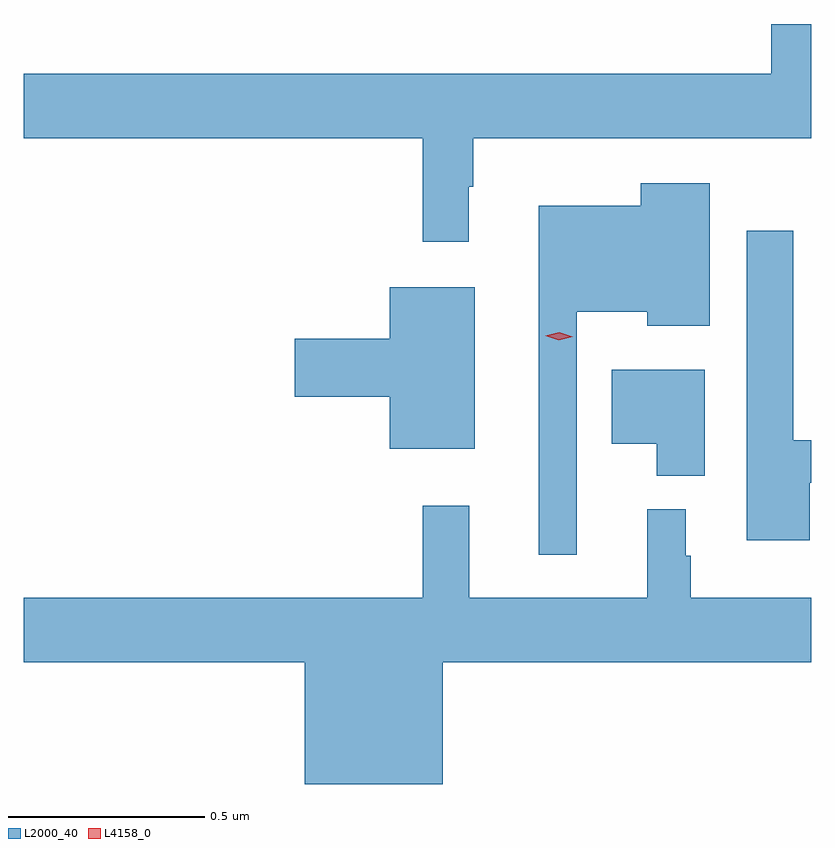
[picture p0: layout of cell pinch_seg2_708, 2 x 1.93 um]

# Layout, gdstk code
import gdstk
lib = gdstk.Library(unit=1e-6, precision=1e-09)
def P(c, l, *ps):  # polygons
    for p in ps: c.add(gdstk.Polygon(p, *l))
L2000_40 = (2000, 40)
L4158_0 = (4158, 0)

pinch_seg2_708 = lib.new_cell('pinch_seg2_708')
P(pinch_seg2_708, L2000_40, [(1083.506,586.364),(1084.519,586.364),(1084.519,586.101),(1084.636,586.101),(1084.636,586.241),(1084.648,586.241),(1084.648,586.364),(1085.506,586.364),(1085.506,586.654),(1085.405,586.654),(1085.405,586.528),(1083.506,586.528)],
  [(1084.911,585.923),(1085.09,585.923),(1085.09,585.887),(1085.248,585.887),(1085.248,586.249),(1085.073,586.249),(1085.073,586.192),(1084.814,586.192),(1084.814,585.306),(1084.911,585.306)],
  [(1085.503,585.489),(1085.506,585.489),(1085.506,585.597),(1085.461,585.597),(1085.461,586.129),(1085.342,586.129),(1085.342,585.342),(1085.503,585.342)],
  [(1084.651,585.985),(1084.436,585.985),(1084.436,585.854),(1084.194,585.854),(1084.194,585.707),(1084.436,585.707),(1084.436,585.575),(1084.651,585.575)],
  [(1085.236,585.775),(1085,585.775),(1085,585.587),(1085.114,585.587),(1085.114,585.506),(1085.236,585.506)],
  [(1084.57,585.032),(1085.506,585.032),(1085.506,585.196),(1085.2,585.196),(1085.2,585.303),(1085.188,585.303),(1085.188,585.421),(1085.09,585.421),(1085.09,585.196),(1084.637,585.196),(1084.637,585.43),(1084.519,585.43),(1084.519,585.196),(1083.506,585.196),(1083.506,585.032),(1084.22,585.032),(1084.22,584.723),(1084.57,584.723)])
P(pinch_seg2_708, L4158_0, [(1084.865,585.851),(1084.83,585.862),(1084.829,585.862),(1084.83,585.862),(1084.866,585.871),(1084.901,585.859),(1084.901,585.859),(1084.901,585.859)])

lib.write_gds('pinch_seg2_708.gds')
